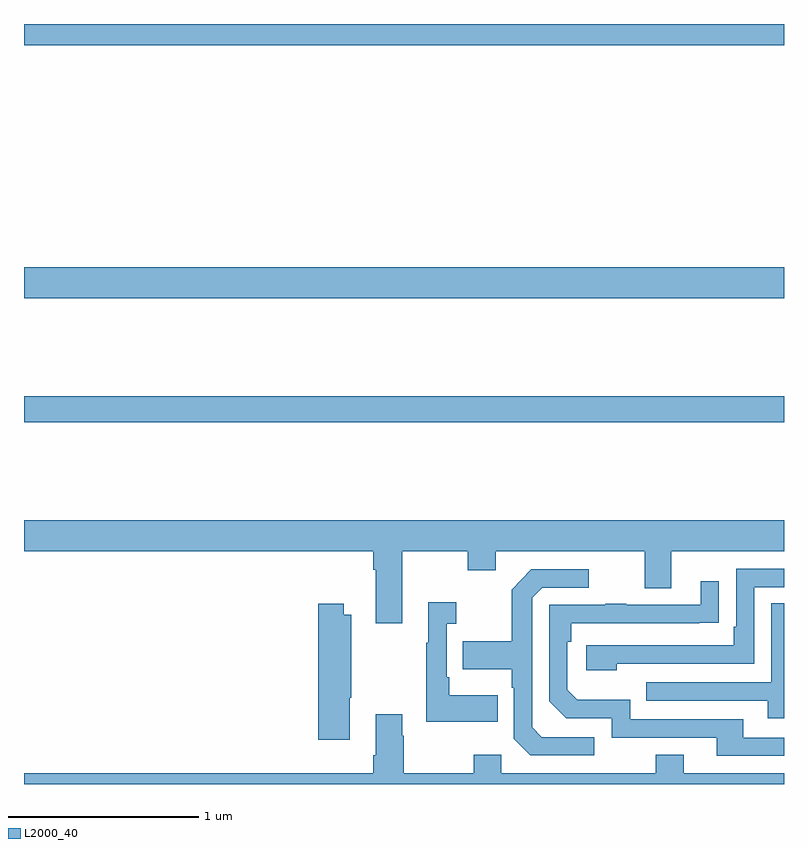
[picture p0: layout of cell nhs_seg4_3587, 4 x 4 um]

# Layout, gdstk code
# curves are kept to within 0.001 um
import gdstk
lib = gdstk.Library(unit=1e-6, precision=1e-09)
def R(c, l, rs):  # rectangles x0, y0, x1, y1
    for r in rs: c.add(gdstk.rectangle(r[:2], r[2:], *l))
def P(c, l, *ps):  # polygons
    for p in ps: c.add(gdstk.Polygon(p, *l))
L2000_40 = (2000, 40)

nhs_seg4_3587 = lib.new_cell('nhs_seg4_3587')
R(nhs_seg4_3587, L2000_40, [(299,826.804,303,826.94), (299,827.456,303,827.62), (299,828.788,303,828.9)])
P(nhs_seg4_3587, L2000_40, [(300.991,826.124),(301.336,826.124),(301.336,826.025),(301.483,826.025),(301.483,826.124),(302.267,826.124),(302.267,825.93),(302.407,825.93),(302.407,826.124),(303,826.124),(303,826.288),(299,826.288),(299,826.124),(300.839,826.124),(300.839,826.028),(300.851,826.028),(300.851,825.747),(300.991,825.747)],
  [(302.12,825.534),(302.844,825.534),(302.844,825.936),(303,825.936),(303,826.032),(302.748,826.032),(302.748,825.727),(302.735,825.727),(302.735,825.63),(301.959,825.63),(301.959,825.5),(302.12,825.5)],
  [(302.002,825.147),(301.725,825.147),(301.674,825.198),(301.674,825.879),(301.728,825.933),(301.972,825.933),(301.972,826.029),(301.671,826.029),(301.566,825.923),(301.566,825.651),(301.309,825.651),(301.309,825.503),(301.566,825.503),(301.566,825.407),(301.578,825.407),(301.578,825.138),(301.665,825.051),(302.002,825.051)],
  [(303,825.144),(302.785,825.144),(302.785,825.24),(302.19,825.24),(302.19,825.343),(301.913,825.343),(301.86,825.396),(301.86,825.65),(301.88,825.65),(301.88,825.747),(302.657,825.748),(302.657,825.967),(302.561,825.967),(302.561,825.843),(302.171,825.843),(302.171,825.848),(302.059,825.848),(302.059,825.843),(301.764,825.843),(301.764,825.336),(301.854,825.246),(302.094,825.246),(302.094,825.144),(302.645,825.144),(302.645,825.048),(303,825.048)],
  [(301.493,825.367),(301.237,825.367),(301.237,825.463),(301.224,825.463),(301.224,825.743),(301.276,825.743),(301.276,825.856),(301.127,825.856),(301.127,825.643),(301.116,825.643),(301.116,825.227),(301.493,825.227)],
  [(303,825.851),(302.934,825.851),(302.934,825.435),(302.275,825.435),(302.275,825.339),(302.915,825.339),(302.915,825.245),(303,825.245)],
  [(300.715,825.355),(300.723,825.355),(300.723,825.79),(300.682,825.79),(300.682,825.85),(300.548,825.85),(300.548,825.132),(300.715,825.132)],
  [(303,824.956),(302.473,824.956),(302.473,825.055),(302.326,825.055),(302.326,824.956),(301.512,824.956),(301.512,825.055),(301.366,825.055),(301.366,824.956),(300.999,824.956),(300.999,825.155),(300.991,825.155),(300.991,825.268),(300.851,825.268),(300.851,825.052),(300.839,825.052),(300.839,824.956),(299,824.956),(299,824.9),(303,824.9)])

lib.write_gds('nhs_seg4_3587.gds')
